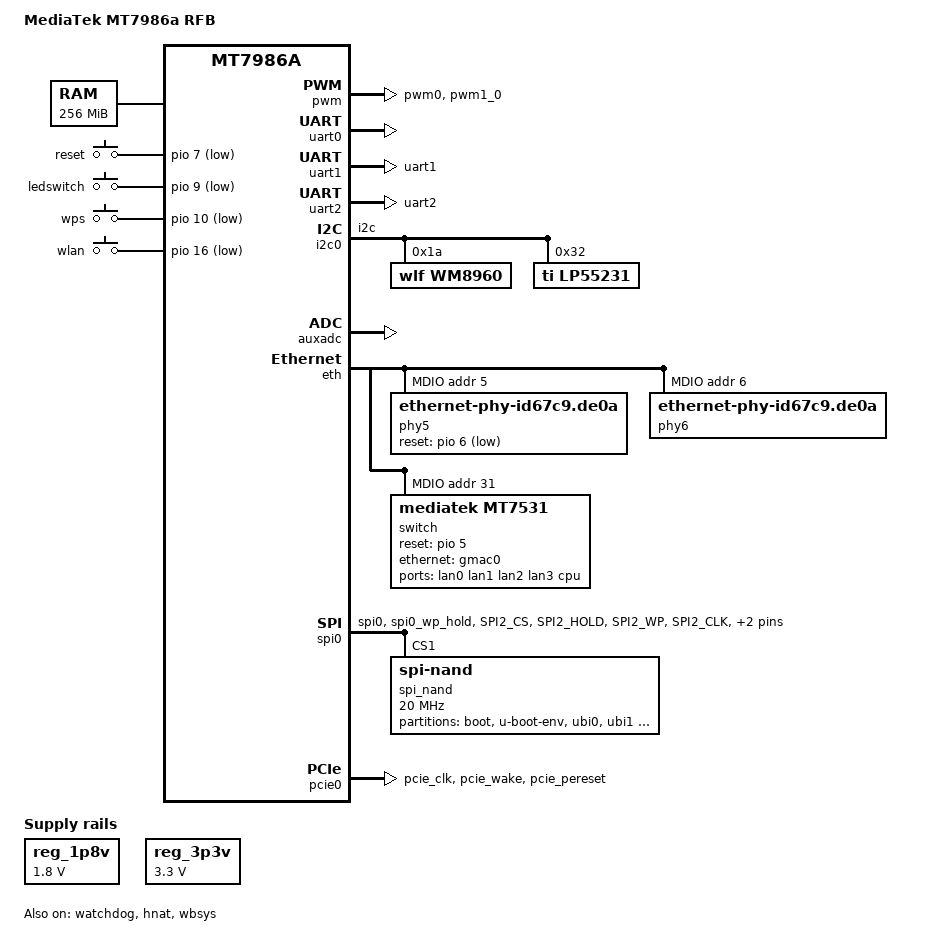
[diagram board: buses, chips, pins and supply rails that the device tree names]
/dts-v1/;
#include <dt-bindings/input/input.h>
#include <dt-bindings/gpio/gpio.h>
#include "mt7986a.dtsi"
/ {
	model = "MediaTek MT7986a RFB";
	compatible = "mediatek,mt7986a-snand-rfb";
	chosen {
		//bootargs = "console=ttyS0,115200n1 loglevel=8  \
		//		earlycon=uart8250,mmio32,0x11002000 \
		//		init=/etc/preinit";
	};

	memory {
		reg = <0 0x40000000 0 0x10000000>;
	};

	reserved-memory {
		ranges;

		reserved: buffer@0{
			reg = <0 0x40000000 0 0x400000>;
			no-map;
		};
	};

	reserved-wifiFW@0 {
		compatible = "mediatek,reserved-memory";
		memory-region = <&reserved>;
	};

	gpio-keys-polled {
		compatible = "gpio-keys-polled";
		poll-interval = <100>;

		reset {
			label = "reset";
			linux,code = <KEY_RESTART>;
			gpios = <&pio 7 GPIO_ACTIVE_LOW>;
			linux,input-type = <1>;
		};
		ledswitch {
			label = "ledswitch";
			linux,code = <KEY_BRIGHTNESS_ZERO>;
			gpios = <&pio 9 GPIO_ACTIVE_LOW>;
			linux,input-type = <1>;
		};
		wps {
			label = "wps";
			linux,code = <KEY_WPS_BUTTON>;
			gpios = <&pio 10 GPIO_ACTIVE_LOW>;
			linux,input-type = <1>;
		};
		wifi {
			label = "wlan";
			linux,code = <KEY_WLAN>;
			gpios = <&pio 16 GPIO_ACTIVE_LOW>;
			linux,input-type = <1>;
		};
	};
	
	reg_1p8v: regulator-1p8v {
		compatible = "regulator-fixed";
		regulator-name = "fixed-1.8V";
		regulator-min-microvolt = <1800000>;
		regulator-max-microvolt = <1800000>;
		regulator-boot-on;
		regulator-always-on;
	};

	reg_3p3v: regulator-3p3v {
		compatible = "regulator-fixed";
		regulator-name = "fixed-3.3V";
		regulator-min-microvolt = <3300000>;
		regulator-max-microvolt = <3300000>;
		regulator-boot-on;
		regulator-always-on;
	};

	sound {
		compatible = "mediatek,mt7986-wm8960-machine";
		mediatek,platform = <&afe>;
		audio-routing = "Headphone", "HP_L",
				"Headphone", "HP_R",
				"LINPUT1", "AMIC",
				"RINPUT1", "AMIC";
		mediatek,audio-codec = <&wm8960>;
		status = "okay";
	};
};

&pwm {
        pinctrl-names = "default";
        pinctrl-0 = <&pwm0_pin &pwm1_pin_g1>;
	status = "okay";
};

&uart0 {
	status = "okay";
};

&uart1 {
        pinctrl-names = "default";
        pinctrl-0 = <&uart1_pins>;
	status = "okay";
};

&uart2 {
        pinctrl-names = "default";
        pinctrl-0 = <&uart2_pins>;
	status = "okay";
};

&i2c0 {
        pinctrl-names = "default";
        pinctrl-0 = <&i2c_pins>;
        status = "okay";

	wm8960: wm8960@1a {
		compatible = "wlf,wm8960";
		reg = <0x1a>;
	};
};

&auxadc {
        status = "okay";
};

&watchdog {
	status = "okay";
};

&eth {
        status = "okay";

        gmac0: mac@0 {
                compatible = "mediatek,eth-mac";
                reg = <0>;
                phy-mode = "2500base-x";

                fixed-link {
                        speed = <2500>;
                        full-duplex;
                        pause;
                };
        };

        gmac1: mac@1 {
                compatible = "mediatek,eth-mac";
                reg = <1>;
                phy-mode = "2500base-x";
		nick-index = <4>;

                fixed-link {
                        speed = <2500>;
                        full-duplex;
                        pause;
                };
        };

        mdio: mdio-bus {
                #address-cells = <1>;
                #size-cells = <0>;

		phy5: phy@5 {
			compatible = "ethernet-phy-id67c9.de0a";
			reg = <5>;
			reset-gpios = <&pio 6 1>;
			reset-deassert-us = <20000>;
			phy-mode = "2500base-x";
		};

		phy6: phy@6 {
			compatible = "ethernet-phy-id67c9.de0a";
			reg = <6>;
			phy-mode = "2500base-x";
			partner_gmac = <1>;
		};

                switch@0 {
                        compatible = "mediatek,mt7531";
                        reg = <31>;
                        reset-gpios = <&pio 5 0>;

                        ports {
                                #address-cells = <1>;
                                #size-cells = <0>;

                                port@0 {
                                        reg = <0>;
                                        label = "lan0";
                                };

                                port@1 {
                                        reg = <1>;
                                        label = "lan1";
                                };

                                port@2 {
                                        reg = <2>;
                                        label = "lan2";
                                };

                                port@3 {
                                        reg = <3>;
                                        label = "lan3";
                                };

                                port@6 {
                                        reg = <6>;
                                        label = "cpu";
                                        ethernet = <&gmac0>;
                                        phy-mode = "2500base-x";

                                        fixed-link {
                                                speed = <2500>;
                                                full-duplex;
                                                pause;
                                        };
                                };
                        };
                };
        };
};

&hnat {
	mtketh-wan = "eth1";
	mtketh-lan = "lan";
	mtketh-max-gmac = <2>;
	status = "okay";
};

&spi0 {
	pinctrl-names = "default";
	pinctrl-0 = <&spi_flash_pins>;
	cs-gpios = <0>, <0>;		
	status = "okay";
	spi_nand: spi_nand@1 {
		#address-cells = <1>;
		#size-cells = <1>;
		compatible = "spi-nand";
		reg = <1>;
		spi-max-frequency = <20000000>;
		spi-tx-buswidth = <4>;
		spi-rx-buswidth = <4>;

		partition@0 {
			label = "boot";
			reg = <0x00000 0x0200000>;
			read-only;
		};

		partition@200000 {
			label = "u-boot-env";
			reg = <0x0200000 0x0100000>;
		};

		partition@300000 {
			label = "ubi0";
			reg = <0x300000 0x3200000>;
		};

		partition@3500000 {
			label = "ubi1";
			reg = <0x3500000 0x3200000>;
		};

		partition@6700000 {
			label = "userconfig";
			reg = <0x6700000 0x800000>;
		};

		factory:partition@6f00000 {
			label = "tp_data";
			reg = <0x6f00000 0x400000>;
		};

		partition@7300000 {
			label = "mali_data";
			reg = <0x7300000 0x800000>;
		};
	};
};

&pcie0 {
	pinctrl-names = "default";
	pinctrl-0 = <&pcie0_pins>;
	status = "okay";
};

&pio {
	wifi_led_pins: wifi_led-pins-1-2 {
		mux {
			function = "led";
			groups = "wifi_led";
		};
	};

	i2c_pins: i2c-pins-3-4 {
		mux {
			function = "i2c";
			groups = "i2c";
		};
	};

	uart1_pins_g0: uart1-pins-7-to-10 {
		mux {
			function = "uart";
			groups = "uart1_0";
		};
	};

	pcie0_pins: pcie0-pins-9-10-41 {
		mux {
			function = "pcie";
			groups = "pcie_clk", "pcie_wake", "pcie_pereset";
		};
	};

	jtag_pins: jtag-pins-11-to-14 {
		mux {
			function = "jtag";
			groups = "jtag";
		};
	};

	spic_pins_g0: spic-pins-11-to-14 {
		mux {
			function = "spi";
			groups = "spi1_0";
		};
	};

	pwm1_pin_g0: pwm1-pin-20 {
		mux {
			function = "pwm";
			groups = "pwm1_1";
		};
	};

	pwm0_pin: pwm0-pin-21 {
		mux {
			function = "pwm";
			groups = "pwm0";
		};
	};

	pwm1_pin_g1: pwm1-pin-22 {
		mux {
			function = "pwm";
			groups = "pwm1_0";
		};
	};

	spic_pins_g1: spic-pins-23-to-26 {
		mux {
			function = "spi";
			groups = "spi1_1";
		};
	};

	uart1_pins_g1: uart1-pins-23-to-26 {
		mux {
			function = "uart";
			groups = "uart1_1";
		};
	};

	snfi_pins: snfi-pins-23-to-28 {
		mux {
			function = "flash";
			groups = "snfi";
		};
		conf-clk {
			pins = "SPI0_CLK";
			drive-strength = <MTK_DRIVE_8mA>;
			mediatek,pull-down-adv = <0>;	/* bias-disable */
		};
		conf-pu {
			pins = "SPI0_CS", "SPI0_HOLD", "SPI0_WP";
			drive-strength = <MTK_DRIVE_6mA>;
			mediatek,pull-up-adv = <0>;	/* bias-disable */
		};
		conf-pd {
			pins = "SPI0_MOSI", "SPI0_MISO";
			drive-strength = <MTK_DRIVE_6mA>;
			mediatek,pull-down-adv = <0>;	/* bias-disable */
		};
	};

	spic_pins_g2: spic-pins-29-to-32 {
		mux {
			function = "spi";
			groups = "spi1_2";
		};
	};

	uart1_pins_g2: uart1-pins-29-to-32 {
		mux {
			function = "uart";
			groups = "uart1_2";
		};
	};

	uart2_pins_g0: uart1-pins-29-to-32 {
		mux {
			function = "uart";
			groups = "uart1_2";
		};
	};

	uart2_pins_g1: uart1-pins-23-to-36 {
		mux {
			function = "uart";
			groups = "uart2_1";
		};
	};

	spic_pins_g3: spic-pins-33-to-36 {
		mux {
			function = "spi";
			groups = "spi1_3";
		};
	};

	uart1_pins_g3: uart1-pins-35-to-38 {
		mux {
			function = "uart";
			groups = "uart1_3_rx_tx", "uart1_3_cts_rts";
		};
	};

	spi_flash_pins: spi-flash-pins-33-to-38 {
		mux {
			function = "flash";
			groups = "spi0", "spi0_wp_hold";
		};
		conf-pu {
			pins = "SPI2_CS", "SPI2_HOLD", "SPI2_WP";
			drive-strength = <MTK_DRIVE_8mA>;
			bias-pull-up = <MTK_PUPD_SET_R1R0_11>;
		};
		conf-pd {
			pins = "SPI2_CLK", "SPI2_MOSI", "SPI2_MISO";
			drive-strength = <MTK_DRIVE_8mA>;
			bias-pull-down = <MTK_PUPD_SET_R1R0_11>;
		};
	};

	uart1_pins: uart1-pins-42-to-45 {
		mux {
			function = "uart";
			groups = "uart1";
		};
	};

	uart2_pins: uart1-pins-46-to-49 {
		mux {
			function = "uart";
			groups = "uart2";
		};
	};

	mmc0_pins_default: mmc0-pins-50-to-61-default {
		mux {
			function = "flash";
			groups = "emmc_51";
		};
		conf-cmd-dat {
			pins = "EMMC_DATA_0", "EMMC_DATA_1", "EMMC_DATA_2",
			       "EMMC_DATA_3", "EMMC_DATA_4", "EMMC_DATA_5",
			       "EMMC_DATA_6", "EMMC_DATA_7", "EMMC_CMD";
			input-enable;
			drive-strength = <MTK_DRIVE_4mA>;
			mediatek,pull-up-adv = <1>;	/* pull-up 10K */
		};
		conf-clk {
			pins = "EMMC_CK";
			drive-strength = <MTK_DRIVE_6mA>;
			mediatek,pull-down-adv = <2>;	/* pull-down 50K */
		};
		conf-ds {
			pins = "EMMC_DSL";
			mediatek,pull-down-adv = <2>;	/* pull-down 50K */
		};
		conf-rst {
			pins = "EMMC_RSTB";
			drive-strength = <MTK_DRIVE_4mA>;
			mediatek,pull-up-adv = <1>;	/* pull-up 10K */
		};
	};

	mmc0_pins_uhs: mmc0-pins-50-to-61-uhs {
		mux {
			function = "flash";
			groups = "emmc_51";
		};
		conf-cmd-dat {
			pins = "EMMC_DATA_0", "EMMC_DATA_1", "EMMC_DATA_2",
			       "EMMC_DATA_3", "EMMC_DATA_4", "EMMC_DATA_5",
			       "EMMC_DATA_6", "EMMC_DATA_7", "EMMC_CMD";
			input-enable;
			drive-strength = <MTK_DRIVE_4mA>;
			mediatek,pull-up-adv = <1>;	/* pull-up 10K */
		};
		conf-clk {
			pins = "EMMC_CK";
			drive-strength = <MTK_DRIVE_6mA>;
			mediatek,pull-down-adv = <2>;	/* pull-down 50K */
		};
		conf-ds {
			pins = "EMMC_DSL";
			mediatek,pull-down-adv = <2>;	/* pull-down 50K */
		};
		conf-rst {
			pins = "EMMC_RSTB";
			drive-strength = <MTK_DRIVE_4mA>;
			mediatek,pull-up-adv = <1>;	/* pull-up 10K */
		};
	};

	pcm_pins: pcm-pins-62-to-65 {
		mux {
			function = "pcm";
			groups = "pcm";
		};
	};
};

&wbsys {
	mediatek,mtd-eeprom = <&factory 0x0000>;
	status = "okay";
};

&i2c0 {
	status = "okay";

	lp55231@0x32 {
		compatible = "ti,lp55231";
		reg = <0x32>;
		clock-mode = /bits/ 8 <1>;

		chan0 {
			chan-name = "d1";
			led-cur = /bits/ 8 <0x14>;
			max-cur = /bits/ 8 <0x20>;
		};
					
		chan1 {
			chan-name = "d2";
			led-cur = /bits/ 8 <0x14>;
			max-cur = /bits/ 8 <0x20>;
		};

		chan2 {
			chan-name = "d3";
			led-cur = /bits/ 8 <0x14>;
			max-cur = /bits/ 8 <0x20>;
		};

		chan3 {
			chan-name = "d4";
			led-cur = /bits/ 8 <0x14>;
			max-cur = /bits/ 8 <0x20>;
		};

		chan4 {
			chan-name = "d5";
			led-cur = /bits/ 8 <0x14>;
			max-cur = /bits/ 8 <0x20>;
		};

		chan5 {
			chan-name = "d6";
			led-cur = /bits/ 8 <0x14>;
			max-cur = /bits/ 8 <0x20>;
		};

		chan6 {
			chan-name = "d7";
			led-cur = /bits/ 8 <0x14>;
			max-cur = /bits/ 8 <0x20>;
		};

		chan7 {
			chan-name = "d8";
			led-cur = /bits/ 8 <0x14>;
			max-cur = /bits/ 8 <0x20>;
		};

		chan8 {
			chan-name = "d9";
			led-cur = /bits/ 8 <0x14>;
			max-cur = /bits/ 8 <0x20>;
		};
	};
};
